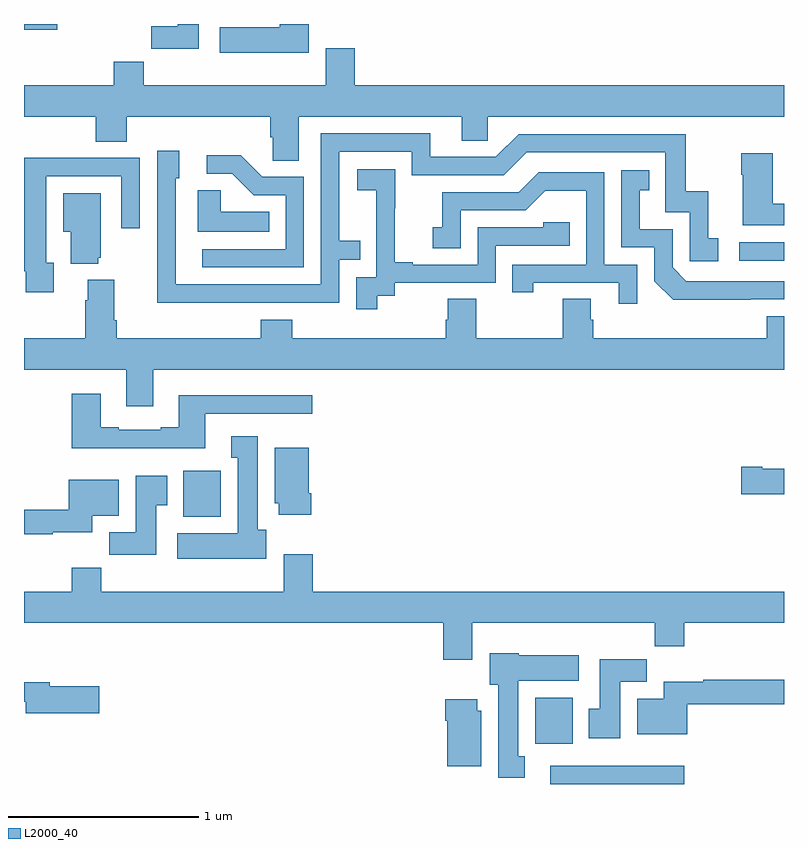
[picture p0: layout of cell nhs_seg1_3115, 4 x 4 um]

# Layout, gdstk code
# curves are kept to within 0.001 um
import gdstk
lib = gdstk.Library(unit=1e-6, precision=1e-09)
def R(c, l, rs):  # rectangles x0, y0, x1, y1
    for r in rs: c.add(gdstk.rectangle(r[:2], r[2:], *l))
def P(c, l, *ps):  # polygons
    for p in ps: c.add(gdstk.Polygon(p, *l))
L2000_40 = (2000, 40)

nhs_seg1_3115 = lib.new_cell('nhs_seg1_3115')
R(nhs_seg1_3115, L2000_40, [(281.771,568.199,282.476,568.294), (281.69,568.412,281.887,568.654), (279.839,569.606,280.036,569.848), (282.765,570.954,283,571.05), (279,572.169,279.174,572.199)])
P(nhs_seg1_3115, L2000_40, [(279.919,572.199),(279.809,572.199),(279.809,572.188),(279.67,572.188),(279.67,572.07),(279.919,572.07)],
  [(280.498,572.199),(280.346,572.199),(280.346,572.182),(280.029,572.182),(280.029,572.048),(280.498,572.048)],
  [(280.447,571.712),(281.303,571.712),(281.303,571.585),(281.442,571.585),(281.442,571.712),(283,571.712),(283,571.876),(280.742,571.876),(280.742,572.071),(280.589,572.071),(280.589,571.876),(279.629,571.876),(279.629,572),(279.473,572),(279.473,571.876),(279,571.876),(279,571.712),(279.377,571.712),(279.377,571.579),(279.542,571.579),(279.542,571.712),(280.295,571.712),(280.295,571.603),(280.308,571.603),(280.308,571.48),(280.447,571.48)],
  [(280.163,570.732),(280.659,570.732),(280.659,570.957),(280.769,570.957),(280.769,571.058),(280.659,571.058),(280.659,571.527),(281.04,571.527),(281.04,571.404),(281.526,571.404),(281.646,571.524),(282.375,571.524),(282.375,571.209),(282.504,571.209),(282.504,570.951),(282.655,570.951),(282.655,571.071),(282.602,571.071),(282.602,571.318),(282.484,571.318),(282.484,571.62),(281.604,571.62),(281.484,571.5),(281.137,571.5),(281.137,571.623),(280.563,571.623),(280.563,570.828),(279.798,570.828),(279.798,571.386),(279.817,571.386),(279.817,571.531),(279.702,571.531),(279.702,571.037),(279.7,571.037),(279.7,570.731)],
  [(283,571.253),(282.94,571.253),(282.94,571.519),(282.775,571.519),(282.775,571.406),(282.782,571.406),(282.782,571.139),(283,571.139)],
  [(280.473,571.395),(280.254,571.395),(280.141,571.508),(279.963,571.508),(279.963,571.41),(280.097,571.41),(280.208,571.299),(280.377,571.299),(280.377,571.014),(279.939,571.014),(279.939,570.918),(280.473,570.918)],
  [(279.157,570.942),(279.117,570.942),(279.117,571.398),(279.513,571.398),(279.513,571.125),(279.609,571.125),(279.609,571.494),(279.293,571.494),(279.293,571.496),(279.001,571.496),(279.001,570.898),(279.009,570.898),(279.009,570.786),(279.157,570.786)],
  [(280.858,570.769),(280.95,570.769),(280.95,570.837),(281.484,570.837),(281.484,571.032),(281.873,571.032),(281.873,571.155),(281.733,571.155),(281.733,571.128),(281.388,571.128),(281.388,570.933),(281.047,570.933),(281.047,570.946),(280.952,570.946),(280.952,571.229),(280.953,571.229),(280.953,571.435),(280.755,571.435),(280.755,571.325),(280.853,571.325),(280.853,571.097),(280.854,571.097),(280.854,570.867),(280.749,570.867),(280.749,570.699),(280.858,570.699)],
  [(282.824,570.75),(283,570.75),(283,570.846),(282.486,570.846),(282.414,570.918),(282.414,571.119),(282.241,571.119),(282.241,571.323),(282.29,571.323),(282.29,571.429),(282.144,571.429),(282.144,571.023),(282.318,571.023),(282.318,570.846),(282.416,570.749)],
  [(282.228,570.933),(282.054,570.933),(282.054,571.419),(281.708,571.419),(281.603,571.314),(281.2,571.314),(281.2,571.129),(281.151,571.129),(281.151,571.02),(281.298,571.02),(281.298,571.218),(281.64,571.218),(281.744,571.322),(281.958,571.322),(281.958,570.933),(281.569,570.933),(281.569,570.786),(281.68,570.786),(281.68,570.837),(282.131,570.837),(282.131,570.726),(282.228,570.726)],
  [(280.292,571.21),(280.035,571.21),(280.035,571.325),(279.914,571.325),(279.914,571.106),(280.292,571.106)],
  [(279.392,570.969),(279.403,570.969),(279.403,571.309),(279.206,571.309),(279.206,571.106),(279.245,571.106),(279.245,570.938),(279.392,570.938)],
  [(279.679,570.38),(283,570.38),(283,570.661),(282.908,570.661),(282.908,570.544),(281.996,570.544),(281.996,570.642),(281.983,570.642),(281.983,570.752),(281.836,570.752),(281.836,570.544),(281.379,570.544),(281.379,570.752),(281.231,570.752),(281.231,570.642),(281.219,570.642),(281.219,570.544),(280.412,570.544),(280.412,570.643),(280.247,570.643),(280.247,570.544),(279.488,570.544),(279.488,570.64),(279.475,570.64),(279.475,570.853),(279.335,570.853),(279.335,570.746),(279.323,570.746),(279.323,570.544),(279,570.544),(279,570.38),(279.539,570.38),(279.539,570.186),(279.679,570.186)],
  [(279.955,570.147),(280.516,570.147),(280.516,570.244),(279.815,570.244),(279.815,570.076),(279.719,570.076),(279.719,570.063),(279.499,570.063),(279.499,570.076),(279.403,570.076),(279.403,570.253),(279.251,570.253),(279.251,569.966),(279.955,569.966)],
  [(280.276,569.538),(280.231,569.538),(280.231,570.028),(280.091,570.028),(280.091,569.915),(280.124,569.915),(280.124,569.518),(279.807,569.518),(279.807,569.384),(280.276,569.384)],
  [(280.511,569.728),(280.498,569.728),(280.498,569.968),(280.319,569.968),(280.319,569.676),(280.34,569.676),(280.34,569.616),(280.511,569.616)],
  [(283,569.857),(282.886,569.857),(282.886,569.87),(282.774,569.87),(282.774,569.723),(283,569.723)],
  [(279.697,569.665),(279.754,569.665),(279.754,569.821),(279.587,569.821),(279.587,569.524),(279.448,569.524),(279.448,569.406),(279.697,569.406)],
  [(279.152,569.525),(279.358,569.525),(279.358,569.612),(279.499,569.612),(279.499,569.8),(279.236,569.8),(279.236,569.642),(279,569.642),(279,569.514),(279.152,569.514)],
  [(280.52,569.407),(280.367,569.407),(280.367,569.212),(279.407,569.212),(279.407,569.336),(279.251,569.336),(279.251,569.212),(279,569.212),(279,569.048),(281.207,569.048),(281.207,568.854),(281.359,568.854),(281.359,569.048),(282.319,569.048),(282.319,568.924),(282.476,568.924),(282.476,569.048),(283,569.048),(283,569.212),(280.52,569.212)],
  [(281.635,568.346),(281.602,568.346),(281.602,568.742),(281.92,568.742),(281.92,568.876),(281.604,568.876),(281.604,568.888),(281.45,568.888),(281.45,568.722),(281.495,568.722),(281.495,568.233),(281.635,568.233)],
  [(282.139,568.736),(282.278,568.736),(282.278,568.855),(282.029,568.855),(282.029,568.596),(281.972,568.596),(281.972,568.44),(282.139,568.44)],
  [(282.491,568.618),(283,568.618),(283,568.747),(282.574,568.747),(282.574,568.736),(282.368,568.736),(282.368,568.648),(282.227,568.648),(282.227,568.46),(282.491,568.46)],
  [(279.397,568.713),(279.136,568.713),(279.136,568.734),(279,568.734),(279,568.633),(279.008,568.633),(279.008,568.571),(279.397,568.571)],
  [(281.407,568.584),(281.386,568.584),(281.386,568.645),(281.216,568.645),(281.216,568.532),(281.228,568.532),(281.228,568.292),(281.407,568.292)])

lib.write_gds('nhs_seg1_3115.gds')
